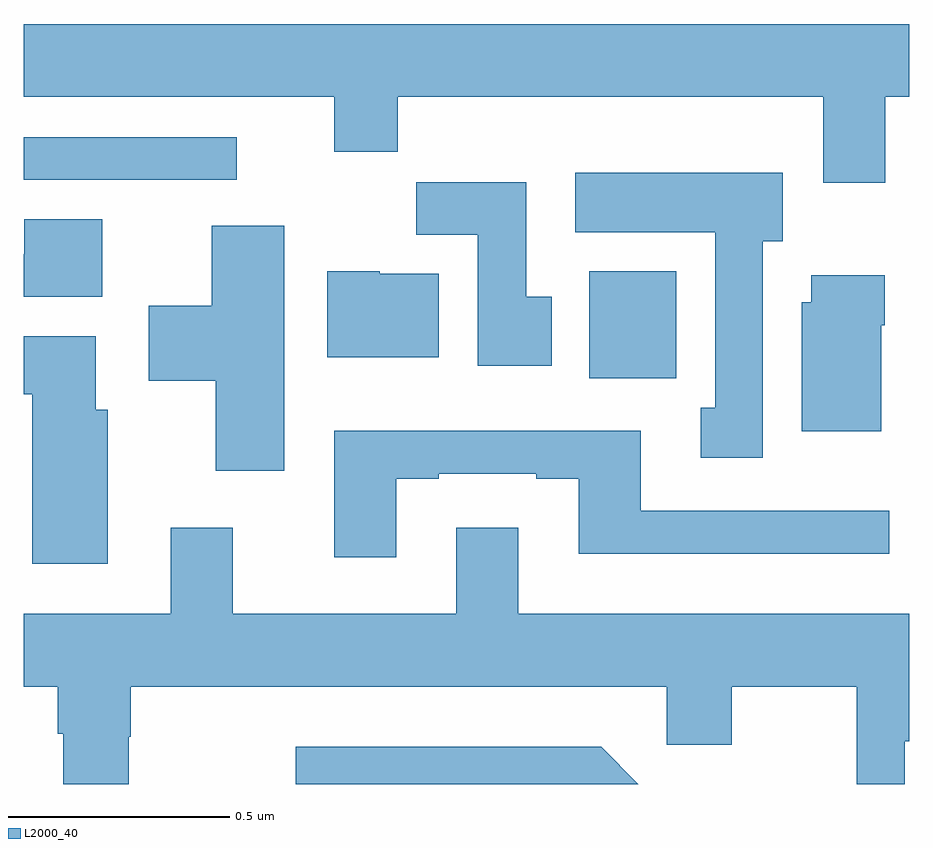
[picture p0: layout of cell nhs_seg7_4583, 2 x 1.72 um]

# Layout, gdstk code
import gdstk
lib = gdstk.Library(unit=1e-6, precision=1e-09)
def R(c, l, rs):  # rectangles x0, y0, x1, y1
    for r in rs: c.add(gdstk.rectangle(r[:2], r[2:], *l))
def P(c, l, *ps):  # polygons
    for p in ps: c.add(gdstk.Polygon(p, *l))
L2000_40 = (2000, 40)

nhs_seg7_4583 = lib.new_cell('nhs_seg7_4583')
R(nhs_seg7_4583, L2000_40, [(175.277,1063.916,175.474,1064.158), (174,1064.364,174.481,1064.46)])
P(nhs_seg7_4583, L2000_40, [(175.945,1064.552),(176,1064.552),(176,1064.716),(174,1064.716),(174,1064.552),(174.701,1064.552),(174.701,1064.428),(174.845,1064.428),(174.845,1064.552),(175.805,1064.552),(175.805,1064.358),(175.945,1064.358)],
  [(175.669,1064.226),(175.714,1064.226),(175.714,1064.38),(175.245,1064.38),(175.245,1064.246),(175.562,1064.246),(175.562,1063.85),(175.529,1063.85),(175.529,1063.737),(175.669,1063.737)],
  [(175.192,1064.1),(175.135,1064.1),(175.135,1064.359),(174.886,1064.359),(174.886,1064.24),(175.025,1064.24),(175.025,1063.944),(175.192,1063.944)],
  [(174.178,1064.275),(174.002,1064.275),(174.002,1064.196),(174,1064.196),(174,1064.1),(174.178,1064.1)],
  [(174.589,1064.26),(174.425,1064.26),(174.425,1064.08),(174.282,1064.08),(174.282,1063.911),(174.434,1063.911),(174.434,1063.707),(174.589,1063.707)],
  [(174.937,1064.152),(174.804,1064.152),(174.804,1064.158),(174.686,1064.158),(174.686,1063.964),(174.937,1063.964)],
  [(175.936,1064.036),(175.944,1064.036),(175.944,1064.149),(175.778,1064.149),(175.778,1064.088),(175.757,1064.088),(175.757,1063.796),(175.936,1063.796)],
  [(174.19,1063.845),(174.163,1063.845),(174.163,1064.011),(174,1064.011),(174,1063.88),(174.02,1063.88),(174.02,1063.497),(174.19,1063.497)],
  [(174.841,1063.689),(174.937,1063.689),(174.937,1063.701),(175.157,1063.701),(175.157,1063.689),(175.253,1063.689),(175.253,1063.52),(175.954,1063.52),(175.954,1063.617),(175.393,1063.617),(175.393,1063.798),(174.701,1063.798),(174.701,1063.512),(174.841,1063.512)],
  [(174.237,1063.107),(174.242,1063.107),(174.242,1063.22),(175.452,1063.22),(175.452,1063.089),(175.599,1063.089),(175.599,1063.22),(175.881,1063.22),(175.881,1063),(175.99,1063),(175.99,1063.097),(176,1063.097),(176,1063.384),(175.117,1063.384),(175.117,1063.579),(174.977,1063.579),(174.977,1063.384),(174.472,1063.384),(174.472,1063.579),(174.332,1063.579),(174.332,1063.384),(174,1063.384),(174,1063.22),(174.077,1063.22),(174.077,1063.114),(174.089,1063.114),(174.089,1063),(174.237,1063)],
  [(175.304,1063.084),(174.615,1063.084),(174.615,1063),(175.388,1063)])

lib.write_gds('nhs_seg7_4583.gds')
